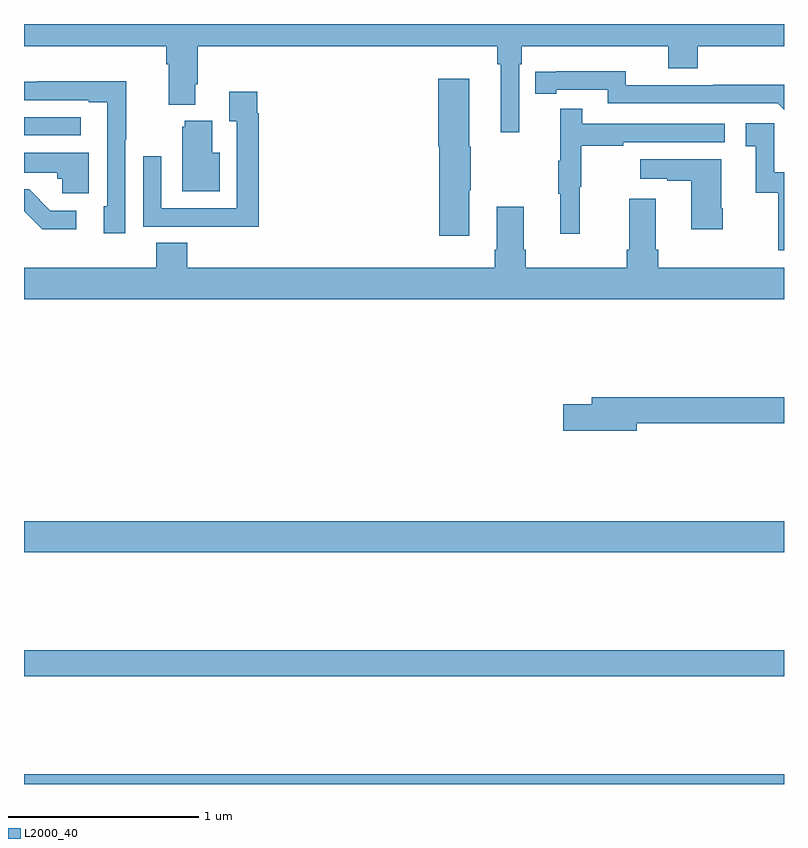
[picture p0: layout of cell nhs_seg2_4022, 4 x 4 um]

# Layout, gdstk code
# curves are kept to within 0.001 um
import gdstk
lib = gdstk.Library(unit=1e-6, precision=1e-09)
def R(c, l, rs):  # rectangles x0, y0, x1, y1
    for r in rs: c.add(gdstk.rectangle(r[:2], r[2:], *l))
def P(c, l, *ps):  # polygons
    for p in ps: c.add(gdstk.Polygon(p, *l))
L2000_40 = (2000, 40)

nhs_seg2_4022 = lib.new_cell('nhs_seg2_4022')
R(nhs_seg2_4022, L2000_40, [(327,595.8,331,595.852), (327,596.368,331,596.504), (327,597.02,331,597.184), (327,599.214,327.298,599.31)])
P(nhs_seg2_4022, L2000_40, [(327,599.684),(327.749,599.684),(327.749,599.588),(327.761,599.588),(327.761,599.375),(327.901,599.375),(327.901,599.482),(327.914,599.482),(327.914,599.684),(329.491,599.684),(329.491,599.588),(329.51,599.588),(329.51,599.229),(329.607,599.229),(329.607,599.588),(329.621,599.588),(329.621,599.684),(330.392,599.684),(330.392,599.567),(330.545,599.567),(330.545,599.684),(331,599.684),(331,599.8),(327,599.8)],
  [(331,599.48),(330.628,599.48),(330.628,599.478),(330.168,599.478),(330.168,599.551),(329.692,599.55),(329.692,599.434),(329.8,599.434),(329.8,599.454),(330.072,599.454),(330.072,599.382),(330.966,599.382),(331,599.348)],
  [(329.344,598.924),(329.352,598.924),(329.352,599.154),(329.344,599.154),(329.344,599.512),(329.18,599.512),(329.18,599.154),(329.186,599.154),(329.186,598.686),(329.344,598.686)],
  [(327.534,599.191),(327.537,599.191),(327.537,599.498),(327.073,599.498),(327.073,599.496),(327,599.496),(327,599.4),(327.341,599.4),(327.341,599.388),(327.438,599.388),(327.438,598.842),(327.419,598.842),(327.419,598.698),(327.534,598.698)],
  [(328.235,599.33),(328.228,599.33),(328.228,599.443),(328.079,599.443),(328.079,599.287),(328.119,599.287),(328.119,598.83),(327.723,598.83),(327.723,599.104),(327.627,599.104),(327.627,598.734),(327.943,598.734),(327.943,598.733),(328.235,598.733)],
  [(329.924,598.944),(329.932,598.944),(329.932,599.158),(330.155,599.158),(330.155,599.178),(330.688,599.178),(330.688,599.274),(329.939,599.274),(329.939,599.353),(329.822,599.353),(329.822,599.081),(329.811,599.081),(329.811,598.907),(329.822,598.907),(329.822,598.695),(329.924,598.695)],
  [(328.03,599.122),(327.991,599.122),(327.991,599.29),(327.845,599.29),(327.845,599.259),(327.833,599.259),(327.833,598.919),(328.03,598.919)],
  [(331,599.019),(330.948,599.019),(330.948,599.278),(330.798,599.278),(330.798,599.157),(330.851,599.157),(330.851,598.911),(330.969,598.911),(330.969,598.608),(331,598.608)],
  [(327.34,599.122),(327,599.122),(327,599.018),(327.175,599.018),(327.175,598.986),(327.201,598.986),(327.201,598.91),(327.34,598.91)],
  [(330.678,598.831),(330.67,598.831),(330.67,599.089),(330.243,599.089),(330.243,598.985),(330.386,598.985),(330.386,598.975),(330.512,598.975),(330.512,598.719),(330.678,598.719)],
  [(327.274,598.818),(327.139,598.818),(327.028,598.929),(327,598.929),(327,598.815),(327.095,598.721),(327.274,598.721)],
  [(329.489,598.837),(329.489,598.612),(329.477,598.612),(329.477,598.516),(327.86,598.516),(327.86,598.649),(327.695,598.649),(327.695,598.516),(327,598.516),(327,598.352),(331,598.352),(331,598.516),(330.338,598.516),(330.338,598.612),(330.325,598.612),(330.325,598.879),(330.185,598.879),(330.185,598.612),(330.173,598.612),(330.173,598.516),(329.642,598.516),(329.642,598.612),(329.629,598.612),(329.629,598.837)],
  [(330.226,597.7),(331,597.7),(331,597.836),(329.987,597.836),(329.987,597.8),(329.838,597.8),(329.838,597.658),(330.226,597.658)])

lib.write_gds('nhs_seg2_4022.gds')
